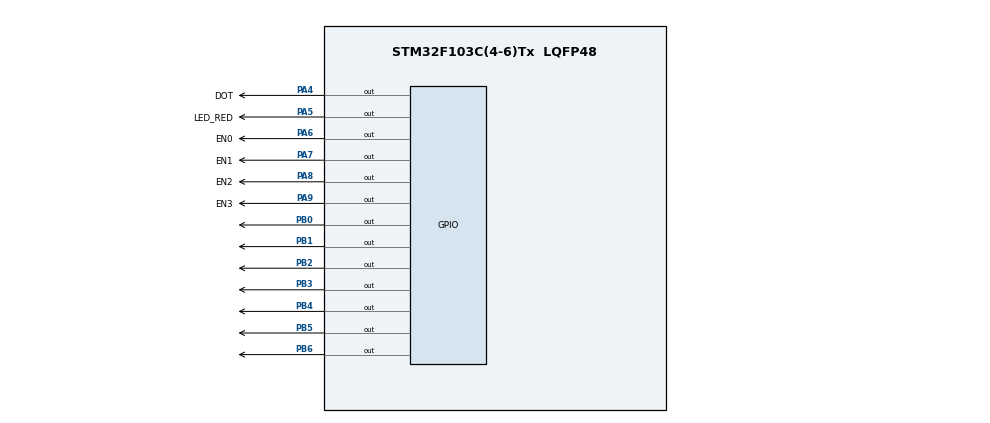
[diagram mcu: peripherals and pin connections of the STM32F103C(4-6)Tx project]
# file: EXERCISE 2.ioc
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Mcu.Family=STM32F1
Mcu.Name=STM32F103C(4-6)Tx
Mcu.Package=LQFP48
NVIC.PriorityGroup=NVIC_PRIORITYGROUP_4
NVIC.TIM2_IRQn=true\:0\:0\:false\:false\:true\:true\:true
PA4.GPIO_Label=DOT
PA4.Signal=GPIO_Output
PA5.GPIO_Label=LED_RED
PA5.Signal=GPIO_Output
PA6.GPIO_Label=EN0
PA6.Signal=GPIO_Output
PA7.GPIO_Label=EN1
PA7.Signal=GPIO_Output
PA8.GPIO_Label=EN2
PA8.Signal=GPIO_Output
PA9.GPIO_Label=EN3
PA9.Signal=GPIO_Output
PB0.Signal=GPIO_Output
PB1.Signal=GPIO_Output
PB2.Signal=GPIO_Output
PB3.Signal=GPIO_Output
PB4.Signal=GPIO_Output
PB5.Signal=GPIO_Output
PB6.Signal=GPIO_Output
ProjectManager.HeapSize=0x200
ProjectManager.StackSize=0x400
ProjectManager.TargetToolchain=STM32CubeIDE
RCC.APB1Freq_Value=8000000
RCC.APB2Freq_Value=8000000
TIM2.Period=9
TIM2.Prescaler=7999
VP_SYS_VS_ND.Mode=No_Debug
VP_TIM2_VS_ClockSourceINT.Mode=Internal
board=custom

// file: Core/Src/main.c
/* USER CODE BEGIN Header */
/**
  ******************************************************************************
  * @file           : main.c
  * @brief          : Main program body
  ******************************************************************************
  * @attention
  *
  * <h2><center>&copy; Copyright (c) 2023 STMicroelectronics.
  * All rights reserved.</center></h2>
  *
  * This software component is licensed by ST under BSD 3-Clause license,
  * the "License"; You may not use this file except in compliance with the
  * License. You may obtain a copy of the License at:
  *                        opensource.org/licenses/BSD-3-Clause
  *
  ******************************************************************************
  */
/* USER CODE END Header */
#include "main.h"
#include "software_timer.h"

TIM_HandleTypeDef htim2;

void SystemClock_Config(void);
static void MX_GPIO_Init(void);
static void MX_TIM2_Init(void);

int main(void)
{

  /* MCU Configuration--------------------------------------------------------*/

  /* Reset of all peripherals, Initializes the Flash interface and the Systick. */
  HAL_Init();

  /* Configure the system clock */
  SystemClock_Config();

  /* Initialize all configured peripherals */
  MX_GPIO_Init();
  MX_TIM2_Init();
  /* USER CODE BEGIN 2 */
  HAL_TIM_Base_Start_IT(&htim2);
  /* USER CODE END 2 */

  /* Infinite loop */
  /* USER CODE BEGIN WHILE */
  void turnonEN0() {
  	HAL_GPIO_WritePin(GPIOA, EN0_Pin, RESET);
  	HAL_GPIO_WritePin(GPIOA, EN1_Pin | EN2_Pin | EN3_Pin, SET);
  }
  void turnonEN1() {
  	HAL_GPIO_WritePin(GPIOA, EN1_Pin, RESET);
  	HAL_GPIO_WritePin(GPIOA, EN0_Pin | EN2_Pin | EN3_Pin, SET);
  }
  void turnonEN2() {
  	HAL_GPIO_WritePin(GPIOA, EN2_Pin, RESET);
  	HAL_GPIO_WritePin(GPIOA, EN1_Pin | EN0_Pin | EN3_Pin, SET);
  }
  void turnonEN3() {
  	HAL_GPIO_WritePin(GPIOA, EN3_Pin, RESET);
  	HAL_GPIO_WritePin(GPIOA, EN1_Pin | EN2_Pin | EN0_Pin, SET);
  }

  void display7SEG(int num){
  	HAL_GPIO_WritePin(GPIOB, GPIO_PIN_0 | GPIO_PIN_1 | GPIO_PIN_2 | GPIO_PIN_3 | GPIO_PIN_4 | GPIO_PIN_5 | GPIO_PIN_6, SET);
  	switch (num) {
  		case 0:
  			HAL_GPIO_WritePin(GPIOB, GPIO_PIN_0 | GPIO_PIN_1 | GPIO_PIN_2 | GPIO_PIN_3 | GPIO_PIN_4 | GPIO_PIN_5, RESET);
  			break;
  		case 1:
  			HAL_GPIO_WritePin(GPIOB, GPIO_PIN_1 | GPIO_PIN_2, RESET);
  			break;
  		case 2:
  			HAL_GPIO_WritePin(GPIOB, GPIO_PIN_0 | GPIO_PIN_1 | GPIO_PIN_3 | GPIO_PIN_4 | GPIO_PIN_6, RESET);
  			break;
  		case 3:
  			HAL_GPIO_WritePin(GPIOB, GPIO_PIN_0 | GPIO_PIN_1 | GPIO_PIN_2 | GPIO_PIN_3 | GPIO_PIN_6, RESET);
  			break;
  		case 4:
  			HAL_GPIO_WritePin(GPIOB, GPIO_PIN_1 | GPIO_PIN_2 | GPIO_PIN_5 | GPIO_PIN_6, RESET);
  			break;
  		case 5:
  			HAL_GPIO_WritePin(GPIOB, GPIO_PIN_0 | GPIO_PIN_2 | GPIO_PIN_3 | GPIO_PIN_5 | GPIO_PIN_6, RESET);
  			break;
  		case 6:
  			HAL_GPIO_WritePin(GPIOB, GPIO_PIN_0 | GPIO_PIN_2 | GPIO_PIN_3 | GPIO_PIN_4 | GPIO_PIN_5 | GPIO_PIN_6, RESET);
  			break;
  		case 7:
  			HAL_GPIO_WritePin(GPIOB, GPIO_PIN_0 | GPIO_PIN_1 | GPIO_PIN_2, RESET);
  			break;
  		case 8:
  			HAL_GPIO_WritePin(GPIOB, GPIO_PIN_0 | GPIO_PIN_1 | GPIO_PIN_2 | GPIO_PIN_3 | GPIO_PIN_4 | GPIO_PIN_5 | GPIO_PIN_6, RESET);
  			break;
  		case 9:
  			HAL_GPIO_WritePin(GPIOB, GPIO_PIN_0 | GPIO_PIN_1 | GPIO_PIN_2 | GPIO_PIN_3 | GPIO_PIN_5 | GPIO_PIN_6, RESET);
  			break;
  	}
  }

  void clear(){
  	HAL_GPIO_WritePin(LED_RED_GPIO_Port, LED_RED_Pin, SET);
  	HAL_GPIO_WritePin(GPIOA, DOT_Pin, SET);
  	HAL_GPIO_WritePin(GPIOA, EN0_Pin | EN1_Pin | EN2_Pin | EN3_Pin , SET);
  	HAL_GPIO_WritePin(GPIOB, GPIO_PIN_All, SET);
  }
  setTimer1(100);
  setTimer2(50);
  setTimer3(50);
  int status = 1;
  clear();
  while (1)
  {
    /* USER CODE END WHILE */
	  if (timer1_flag == 1){
		  setTimer1(100);
		  HAL_GPIO_TogglePin(GPIOA, LED_RED_Pin);
	  }
	  if (timer3_flag == 1){
		  setTimer3(100);
		  HAL_GPIO_TogglePin(GPIOA, DOT_Pin);
	  }
	  if (timer2_flag == 1){
		  setTimer2(50);
		  switch (status) {
		  	  case 1:
		  		  turnonEN0();
		  		  display7SEG(1);
		  		  status = 2;
		  	  break;
		  	  case 2:
		  		  turnonEN1();
		  		  display7SEG(2);
		  		  status = 3;
		  	  break;
		  	  case 3:
		  		  turnonEN2();
		  		  display7SEG(3);
		  		  status = 4;
		  	  break;
		  	  case 4:
		  		  turnonEN3();
		  		  display7SEG(0);
		  		  status = 1;
		  	  break;
		  	  default:
		  		  setTimer2(50);
		  	  break;
		  }
	  }

  }
}

void SystemClock_Config(void)
{
  RCC_OscInitTypeDef RCC_OscInitStruct = {0};
  RCC_ClkInitTypeDef RCC_ClkInitStruct = {0};

  /** Initializes the RCC Oscillators according to the specified parameters
  * in the RCC_OscInitTypeDef structure.
  */
  RCC_OscInitStruct.OscillatorType = RCC_OSCILLATORTYPE_HSI;
  RCC_OscInitStruct.HSIState = RCC_HSI_ON;
  RCC_OscInitStruct.HSICalibrationValue = RCC_HSICALIBRATION_DEFAULT;
  RCC_OscInitStruct.PLL.PLLState = RCC_PLL_NONE;
  if (HAL_RCC_OscConfig(&RCC_OscInitStruct) != HAL_OK)
  {
    Error_Handler();
  }
  /** Initializes the CPU, AHB and APB buses clocks
  */
  RCC_ClkInitStruct.ClockType = RCC_CLOCKTYPE_HCLK|RCC_CLOCKTYPE_SYSCLK
                              |RCC_CLOCKTYPE_PCLK1|RCC_CLOCKTYPE_PCLK2;
  RCC_ClkInitStruct.SYSCLKSource = RCC_SYSCLKSOURCE_HSI;
  RCC_ClkInitStruct.AHBCLKDivider = RCC_SYSCLK_DIV1;
  RCC_ClkInitStruct.APB1CLKDivider = RCC_HCLK_DIV1;
  RCC_ClkInitStruct.APB2CLKDivider = RCC_HCLK_DIV1;

  if (HAL_RCC_ClockConfig(&RCC_ClkInitStruct, FLASH_LATENCY_0) != HAL_OK)
  {
    Error_Handler();
  }
}

static void MX_TIM2_Init(void)
{

  TIM_ClockConfigTypeDef sClockSourceConfig = {0};
  TIM_MasterConfigTypeDef sMasterConfig = {0};

  htim2.Instance = TIM2;
  htim2.Init.Prescaler = 7999;
  htim2.Init.CounterMode = TIM_COUNTERMODE_UP;
  htim2.Init.Period = 9;
  htim2.Init.ClockDivision = TIM_CLOCKDIVISION_DIV1;
  htim2.Init.AutoReloadPreload = TIM_AUTORELOAD_PRELOAD_DISABLE;
  if (HAL_TIM_Base_Init(&htim2) != HAL_OK)
  {
    Error_Handler();
  }
  sClockSourceConfig.ClockSource = TIM_CLOCKSOURCE_INTERNAL;
  if (HAL_TIM_ConfigClockSource(&htim2, &sClockSourceConfig) != HAL_OK)
  {
    Error_Handler();
  }
  sMasterConfig.MasterOutputTrigger = TIM_TRGO_RESET;
  sMasterConfig.MasterSlaveMode = TIM_MASTERSLAVEMODE_DISABLE;
  if (HAL_TIMEx_MasterConfigSynchronization(&htim2, &sMasterConfig) != HAL_OK)
  {
    Error_Handler();
  }

}

static void MX_GPIO_Init(void)
{
  GPIO_InitTypeDef GPIO_InitStruct = {0};

  /* GPIO Ports Clock Enable */
  __HAL_RCC_GPIOA_CLK_ENABLE();
  __HAL_RCC_GPIOB_CLK_ENABLE();

  /*Configure GPIO pin Output Level */
  HAL_GPIO_WritePin(GPIOA, DOT_Pin|LED_RED_Pin|EN0_Pin|EN1_Pin
                          |EN2_Pin|EN3_Pin, GPIO_PIN_RESET);

  /*Configure GPIO pin Output Level */
  HAL_GPIO_WritePin(GPIOB, GPIO_PIN_0|GPIO_PIN_1|GPIO_PIN_2|GPIO_PIN_3
                          |GPIO_PIN_4|GPIO_PIN_5|GPIO_PIN_6, GPIO_PIN_RESET);

  /*Configure GPIO pins : DOT_Pin LED_RED_Pin EN0_Pin EN1_Pin
                           EN2_Pin EN3_Pin */
  GPIO_InitStruct.Pin = DOT_Pin|LED_RED_Pin|EN0_Pin|EN1_Pin
                          |EN2_Pin|EN3_Pin;
  GPIO_InitStruct.Mode = GPIO_MODE_OUTPUT_PP;
  GPIO_InitStruct.Pull = GPIO_NOPULL;
  GPIO_InitStruct.Speed = GPIO_SPEED_FREQ_LOW;
  HAL_GPIO_Init(GPIOA, &GPIO_InitStruct);

  /*Configure GPIO pins : PB0 PB1 PB2 PB3
                           PB4 PB5 PB6 */
  GPIO_InitStruct.Pin = GPIO_PIN_0|GPIO_PIN_1|GPIO_PIN_2|GPIO_PIN_3
                          |GPIO_PIN_4|GPIO_PIN_5|GPIO_PIN_6;
  GPIO_InitStruct.Mode = GPIO_MODE_OUTPUT_PP;
  GPIO_InitStruct.Pull = GPIO_NOPULL;
  GPIO_InitStruct.Speed = GPIO_SPEED_FREQ_LOW;
  HAL_GPIO_Init(GPIOB, &GPIO_InitStruct);

}

/* USER CODE BEGIN 4 */
void HAL_TIM_PeriodElapsedCallback(TIM_HandleTypeDef *htim){
	timerRun();
}
/* USER CODE END 4 */

void Error_Handler(void)
{
  __disable_irq();
  while (1)
  {
  }
}

/************************ (C) COPYRIGHT STMicroelectronics *****END OF FILE****/
